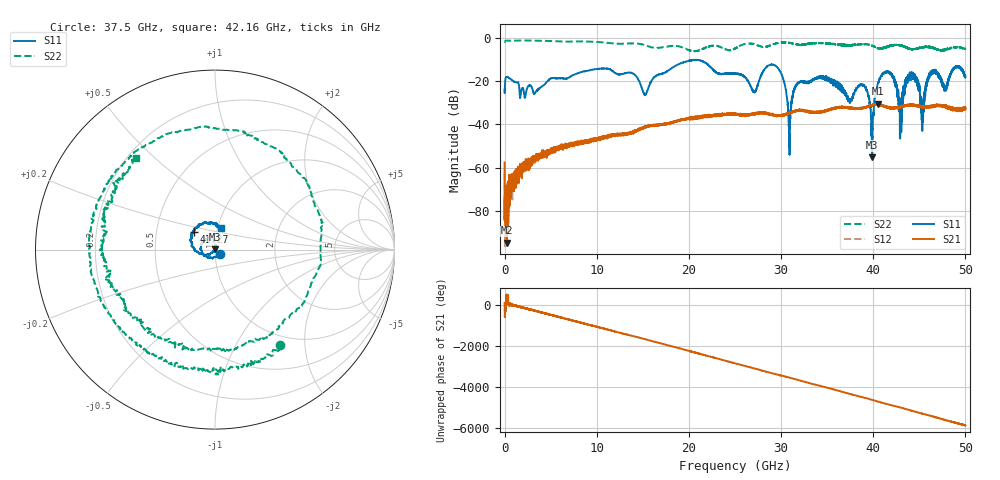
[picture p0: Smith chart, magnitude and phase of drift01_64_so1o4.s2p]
!Created with skrf (http://scikit-rf.org).
# Hz S RI R 50.0
!freq ReS11 ImS11 ReS21 ImS21 ReS12 ImS12 ReS22 ImS22
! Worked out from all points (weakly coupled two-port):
!   10001 points, 300 kHz to 50 GHz, reference 50 ohm
!   highest |S21| = -30.54 dB at 40.5 GHz (marker M1); lowest = -94.6 dB at 225.3 MHz (marker M2)
!   lowest |S11| = -55.3 dB at 39.88 GHz (marker M3), VSWR 1.00, Z = 50 + j0.172 ohm
!   |S11| at or under -10 dB: start of sweep to end of sweep
!   |S22| runs from -6.3 to -1.3 dB; largest |S21 - S12| = 0.0043
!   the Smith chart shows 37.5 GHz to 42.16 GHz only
!   S11 on the Smith chart (normalised r, x): 37.5 GHz: 1.05, -0.05; 41.27 GHz: 0.77, +0.16; 42.16 GHz: 1.04, +0.26
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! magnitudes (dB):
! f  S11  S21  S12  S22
! 300 kHz  -24.0  -57.6  -62.5  -2.1
! 225.3 MHz  -18.1  -94.6  -72.3  -1.4
! 2.525 GHz  -22.7  -58.6  -57.4  -1.4
! 8.335 GHz  -15.9  -48.0  -48.1  -1.8
! 16.67 GHz  -17.1  -40.3  -40.2  -4.8
! 25 GHz  -16.6  -35.5  -35.3  -5.0
! 27.1 GHz  -25.3  -35.2  -35.0  -3.1
! 29.44 GHz  -13.2  -36.0  -36.1  -2.7
! 30.92 GHz  -49.3  -34.6  -34.7  -2.5
! 33.34 GHz  -19.6  -34.3  -34.6  -2.7
! 37.5 GHz  -29.2  -32.5  -32.7  -3.8
! 38.99 GHz  -22.1  -32.2  -32.3  -3.0
! 39.88 GHz  -55.3  -31.2  -31.1  -3.8
! 40.5 GHz  -21.2  -30.5  -30.7  -4.8
! 41.27 GHz  -16.2  -31.8  -31.8  -4.5
! 41.67 GHz  -15.8  -32.2  -32.3  -4.1
! 42.16 GHz  -17.9  -32.5  -32.6  -3.4
! 42.97 GHz  -34.8  -32.0  -32.0  -3.5
! 43.97 GHz  -16.0  -31.0  -31.2  -5.3
! 45.33 GHz  -43.0  -32.0  -31.7  -4.5
! 46.38 GHz  -15.6  -31.4  -31.7  -4.6
! 50 GHz  -17.9  -33.0  -32.6  -5.2
